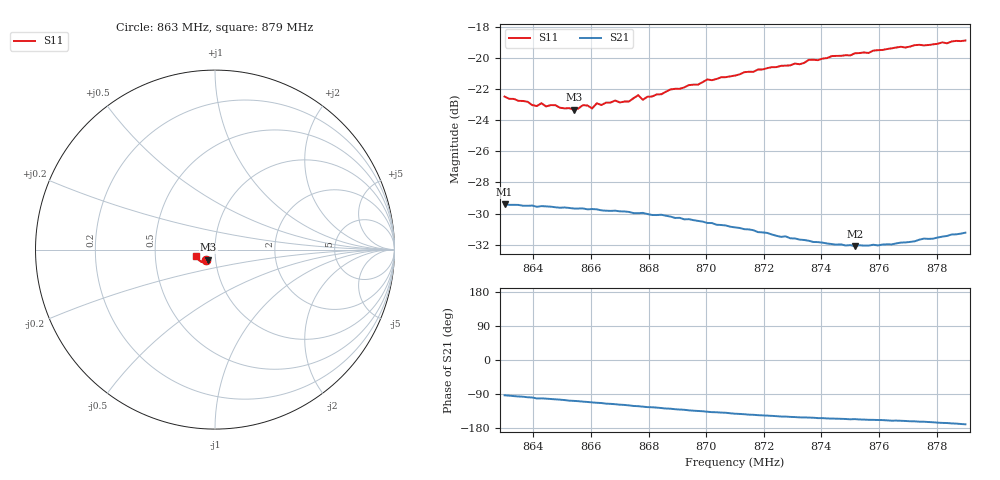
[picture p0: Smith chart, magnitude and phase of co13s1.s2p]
# HZ S RI R 50
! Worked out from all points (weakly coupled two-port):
!   101 points, 863 MHz to 879 MHz, reference 50 ohm
!   highest |S21| = -29.42 dB at 863 MHz (marker M1); lowest = -32.1 dB at 875.16 MHz (marker M2)
!   lowest |S11| = -23.3 dB at 865.4 MHz (marker M3), VSWR 1.15, Z = 46.1 - j5.26 ohm
!   |S11| at or under -10 dB: start of sweep to end of sweep
!   S12 and S22 are empty: the file has one direction only
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8.63e8  -0.0476 -0.0579  -0.00183 -0.0338  0 0  0 0
8.6412e8  -0.0416 -0.0563  -0.00665 -0.0326  0 0  0 0
8.6428e8  -0.0413 -0.0583  -0.0065 -0.0328  0 0  0 0
8.6444e8  -0.041 -0.0564  -0.00689 -0.0326  0 0  0 0
8.6476e8  -0.0408 -0.0574  -0.0079 -0.0322  0 0  0 0
8.654e8  -0.0375 -0.0567  -0.0101 -0.0312  0 0  0 0
8.6572e8  -0.0368 -0.06  -0.0111 -0.0309  0 0  0 0
8.6604e8  -0.0363 -0.0583  -0.0122 -0.0303  0 0  0 0
8.662e8  -0.0381 -0.0604  -0.0127 -0.03  0 0  0 0
8.6636e8  -0.0382 -0.0592  -0.0129 -0.0297  0 0  0 0
8.6732e8  -0.038 -0.0616  -0.0159 -0.0278  0 0  0 0
8.6764e8  -0.0386 -0.0652  -0.0167 -0.0269  0 0  0 0
8.678e8  -0.0375 -0.0629  -0.0174 -0.0266  0 0  0 0
8.6844e8  -0.0395 -0.0653  -0.0188 -0.0251  0 0  0 0
8.6876e8  -0.0404 -0.068  -0.0192 -0.0242  0 0  0 0
8.6972e8  -0.0436 -0.0694  -0.021 -0.0213  0 0  0 0
8.7004e8  -0.0464 -0.0714  -0.0214 -0.0203  0 0  0 0
8.71e8  -0.0513 -0.0711  -0.0224 -0.0177  0 0  0 0
8.7372e8  -0.0689 -0.0703  -0.0227 -0.0119  0 0  0 0
8.7516e8  -0.0802 -0.0651  -0.0227 -0.0101  0 0  0 0
8.7644e8  -0.0895 -0.0589  -0.0237 -0.00856  0 0  0 0
8.79e8  -0.1071 -0.0377  -0.027 -0.00494  0 0  0 0
